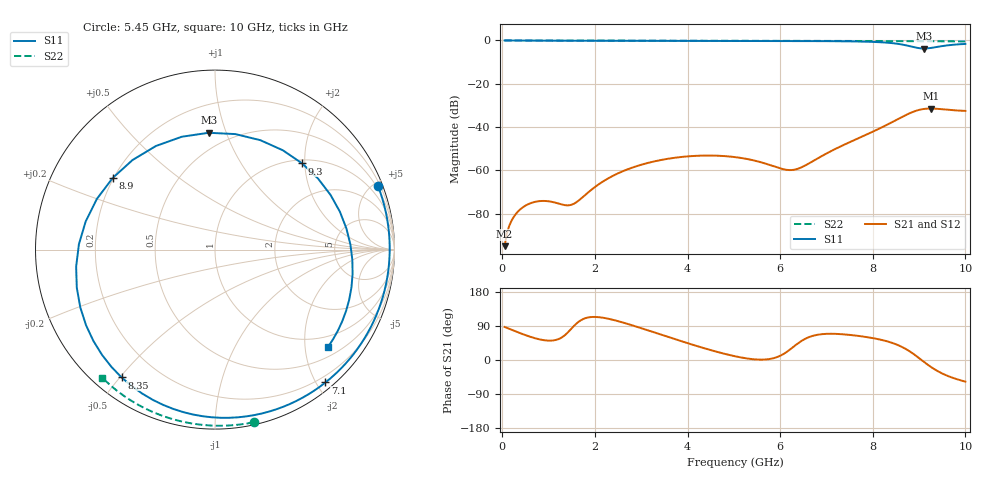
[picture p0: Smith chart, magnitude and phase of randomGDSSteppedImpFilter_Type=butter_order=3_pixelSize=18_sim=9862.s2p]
! freq	dB(S11)	phase(S11)	dB(S12)	phase(S12)
!  dB(S21)	phase(S21)	dB(S22)	phase(S22)
!S-par simulation data
#  GHz  S  DB  R 50
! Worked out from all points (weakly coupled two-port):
!   200 points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, 50 MHz to 10 GHz, reference 50 ohm
!   highest |S21| = -31.46 dB at 9.25 GHz (marker M1); lowest = -95.1 dB at 50 MHz (marker M2)
!   lowest |S11| = -3.7 dB at 9.1 GHz (marker M3), VSWR 4.74, Z = 19.2 + j43.5 ohm
!   |S11| at or under -10 dB: nowhere
!   |S22| runs from -0.4 to 0.0 dB; largest |S21 - S12| = 0
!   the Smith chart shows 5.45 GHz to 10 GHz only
!   S11 on the Smith chart (normalised r, x): 5.45 GHz: 0.37, +5.28; 7.1 GHz: 0.11, -2.13; 8.35 GHz: 0.08, -0.51; 8.9 GHz: 0.20, +0.30; 9.3 GHz: 1.08, +1.94; 10 GHz: 0.72, -2.52
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0.05  -0.00 -4.4  -95.05 87.2  -95.05 87.2  -0.00 -0.8
0.5  -0.06 -43.4  -76.32 65.6  -76.32 65.6  -0.01 -7.6
0.9  -0.09 -76.3  -74.15 52.3  -74.15 52.3  -0.02 -13.6
1.45  -0.13 -117.8  -76.14 77.1  -76.14 77.1  -0.03 -21.8
1.75  -0.14 -138.5  -72.15 108.3  -72.15 108.3  -0.03 -26.2
2.5  -0.17 174.1  -61.39 102.5  -61.39 102.5  -0.05 -37.1
3.4  -0.19 123.1  -55.35 68.1  -55.35 68.1  -0.07 -49.9
4.2  -0.20 81.1  -53.30 36.9  -53.30 36.9  -0.09 -60.9
5.05  -0.21 39.7  -53.96 9.2  -53.96 9.2  -0.11 -72.2
5.45  -0.22 21.3  -55.52 1.7  -55.52 1.7  -0.12 -77.4
6.2  -0.25 -11.5  -59.89 26.5  -59.89 26.5  -0.16 -86.9
6.7  -0.28 -32.9  -55.86 63.6  -55.86 63.6  -0.18 -93.1
7.1  -0.33 -50.3  -51.12 69.2  -51.12 69.2  -0.20 -97.9
7.85  -0.56 -88.0  -43.63 60.8  -43.63 60.8  -0.25 -106.8
8.35  -1.09 -126.2  -38.49 47.8  -38.49 47.8  -0.29 -112.6
8.65  -1.95 -164.5  -35.16 33.3  -35.16 33.3  -0.31 -116.1
8.9  -3.15 145.1  -32.74 14.1  -32.74 14.1  -0.33 -119.0
9.1  -3.72 93.1  -31.66 -4.5  -31.66 -4.5  -0.35 -121.2
9.25  -3.48 55.7  -31.46 -17.9  -31.46 -17.9  -0.36 -122.9
9.3  -3.31 44.7  -31.48 -22.0  -31.48 -22.0  -0.37 -123.5
9.6  -2.30 -4.3  -31.98 -41.1  -31.98 -41.1  -0.40 -126.9
10  -1.61 -40.7  -32.55 -57.1  -32.55 -57.1  -0.44 -131.4
